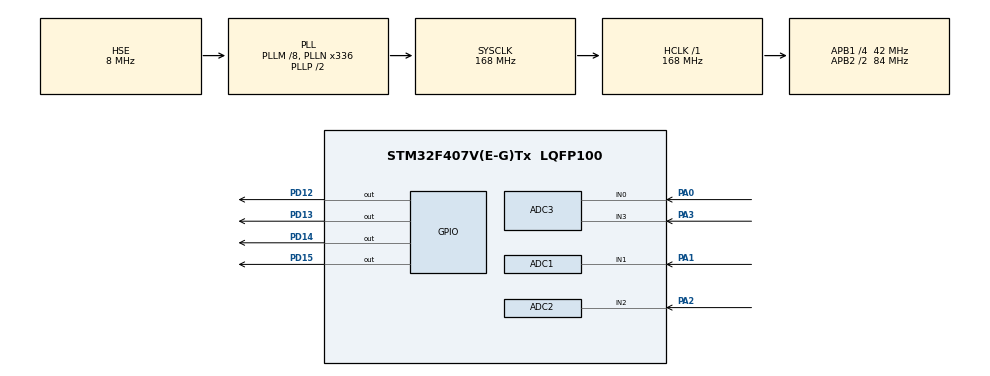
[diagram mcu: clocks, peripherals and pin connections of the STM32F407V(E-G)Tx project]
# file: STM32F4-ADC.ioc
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ADC1.Channel-0\#ChannelRegularConversion=ADC_CHANNEL_1
ADC1.ContinuousConvMode=ENABLE
ADC1.NbrOfConversionFlag=1
ADC1.Rank-0\#ChannelRegularConversion=1
ADC1.SamplingTime-0\#ChannelRegularConversion=ADC_SAMPLETIME_56CYCLES
ADC1.master=1
ADC2.Channel-1\#ChannelRegularConversion=ADC_CHANNEL_2
ADC2.ContinuousConvMode=ENABLE
ADC2.NbrOfConversionFlag=1
ADC2.Rank-1\#ChannelRegularConversion=1
ADC2.SamplingTime-1\#ChannelRegularConversion=ADC_SAMPLETIME_56CYCLES
ADC3.Channel-0\#ChannelRegularConversion=ADC_CHANNEL_3
ADC3.Channel-1\#ChannelRegularConversion=ADC_CHANNEL_0
ADC3.ContinuousConvMode=ENABLE
ADC3.NbrOfConversion=2
ADC3.NbrOfConversionFlag=1
ADC3.Rank-0\#ChannelRegularConversion=1
ADC3.Rank-1\#ChannelRegularConversion=2
ADC3.SamplingTime-0\#ChannelRegularConversion=ADC_SAMPLETIME_56CYCLES
ADC3.SamplingTime-1\#ChannelRegularConversion=ADC_SAMPLETIME_56CYCLES
ADC3.ScanConvMode=ENABLE
Dma.ADC3.0.Direction=DMA_PERIPH_TO_MEMORY
Dma.ADC3.0.FIFOMode=DMA_FIFOMODE_DISABLE
Dma.ADC3.0.Instance=DMA2_Stream0
Dma.ADC3.0.MemDataAlignment=DMA_MDATAALIGN_WORD
Dma.ADC3.0.MemInc=DMA_MINC_ENABLE
Dma.ADC3.0.Mode=DMA_CIRCULAR
Dma.ADC3.0.PeriphDataAlignment=DMA_PDATAALIGN_WORD
Dma.ADC3.0.PeriphInc=DMA_PINC_DISABLE
Dma.ADC3.0.Priority=DMA_PRIORITY_LOW
Dma.Request0=ADC3
Mcu.Family=STM32F4
Mcu.Name=STM32F407V(E-G)Tx
Mcu.Package=LQFP100
NVIC.ADC_IRQn=true\:0\:0\:false\:false\:true\:true\:true\:true
NVIC.DMA2_Stream0_IRQn=true\:0\:0\:false\:false\:true\:false\:true\:true
NVIC.PriorityGroup=NVIC_PRIORITYGROUP_0
PA0-WKUP.Signal=ADCx_IN0
PA1.Signal=ADCx_IN1
PA13.Mode=Serial_Wire
PA13.Signal=SYS_JTMS-SWDIO
PA14.Mode=Serial_Wire
PA14.Signal=SYS_JTCK-SWCLK
PA2.Signal=ADCx_IN2
PA3.Signal=ADCx_IN3
PD12.Signal=GPIO_Output
PD13.Signal=GPIO_Output
PD14.Signal=GPIO_Output
PD15.Signal=GPIO_Output
PH0-OSC_IN.Mode=HSE-External-Oscillator
PH0-OSC_IN.Signal=RCC_OSC_IN
PH1-OSC_OUT.Mode=HSE-External-Oscillator
PH1-OSC_OUT.Signal=RCC_OSC_OUT
ProjectManager.HeapSize=0x200
ProjectManager.StackSize=0x400
ProjectManager.TargetToolchain=STM32CubeIDE
RCC.48MHZClocksFreq_Value=48000000
RCC.AHBFreq_Value=168000000
RCC.APB1CLKDivider=RCC_HCLK_DIV4
RCC.APB1Freq_Value=42000000
RCC.APB1TimFreq_Value=84000000
RCC.APB2CLKDivider=RCC_HCLK_DIV2
RCC.APB2Freq_Value=84000000
RCC.APB2TimFreq_Value=168000000
RCC.CortexFreq_Value=168000000
RCC.HCLKFreq_Value=168000000
RCC.HSE_VALUE=8000000
RCC.HSI_VALUE=16000000
RCC.PLLM=8
RCC.PLLN=336
RCC.PLLQ=7
RCC.PLLSourceVirtual=RCC_PLLSOURCE_HSE
RCC.SYSCLKFreq_VALUE=168000000
RCC.SYSCLKSource=RCC_SYSCLKSOURCE_PLLCLK
RCC.VCOOutputFreq_Value=336000000
SH.ADCx_IN0.0=ADC3_IN0,IN0
SH.ADCx_IN1.0=ADC1_IN1,IN1
SH.ADCx_IN2.0=ADC2_IN2,IN2
SH.ADCx_IN3.0=ADC3_IN3,IN3
board=STM32F407G-DISC1

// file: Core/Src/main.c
/* USER CODE BEGIN Header */
/**
  ******************************************************************************
  * @file           : main.c
  * @brief          : Main program body
  ******************************************************************************
  * @attention
  *
  * Copyright (c) 2024 STMicroelectronics.
  * All rights reserved.
  *
  * This software is licensed under terms that can be found in the LICENSE file
  * in the root directory of this software component.
  * If no LICENSE file comes with this software, it is provided AS-IS.
  *
  ******************************************************************************
  */
/* USER CODE END Header */
#include "main.h"

ADC_HandleTypeDef hadc1;
ADC_HandleTypeDef hadc2;
ADC_HandleTypeDef hadc3;
DMA_HandleTypeDef hdma_adc3;

/* USER CODE BEGIN PV */
uint16_t adcValue= 0 ;
uint16_t adcValueIt= 0 ;
uint32_t adcBuffer[2];
uint32_t adcValueDma1 = 0 ;
uint32_t adcValueDma2 = 0 ;

/* USER CODE END PV */

void SystemClock_Config(void);
static void MX_GPIO_Init(void);
static void MX_DMA_Init(void);
static void MX_ADC1_Init(void);
static void MX_ADC2_Init(void);
static void MX_ADC3_Init(void);

int main(void)
{

  /* MCU Configuration--------------------------------------------------------*/

  /* Reset of all peripherals, Initializes the Flash interface and the Systick. */
  HAL_Init();

  /* Configure the system clock */
  SystemClock_Config();

  /* Initialize all configured peripherals */
  MX_GPIO_Init();
  MX_DMA_Init();
  MX_ADC1_Init();
  MX_ADC2_Init();
  MX_ADC3_Init();
  /* USER CODE BEGIN 2 */

  HAL_ADC_Start_IT(&hadc2);
  HAL_ADC_Start_DMA(&hadc3, adcBuffer, sizeof(adcBuffer));

  /* USER CODE END 2 */

  /* Infinite loop */
  while (1)
  {

    /* USER CODE BEGIN 3 */
	  HAL_ADC_Start(&hadc1);

	  if (HAL_ADC_PollForConversion(&hadc1, 100)== HAL_OK){

		  adcValue  = HAL_ADC_GetValue(&hadc1);

		  	  if(adcValue>2000){

		  		 HAL_GPIO_WritePin(GPIOD, GPIO_PIN_15, GPIO_PIN_SET);
		  	  }else {

		  		HAL_GPIO_WritePin(GPIOD, GPIO_PIN_14, GPIO_PIN_SET);
		  	  }

	}
  }
  /* USER CODE END 3 */
}

void SystemClock_Config(void)
{
  RCC_OscInitTypeDef RCC_OscInitStruct = {0};
  RCC_ClkInitTypeDef RCC_ClkInitStruct = {0};

  /** Configure the main internal regulator output voltage
  */
  __HAL_RCC_PWR_CLK_ENABLE();
  __HAL_PWR_VOLTAGESCALING_CONFIG(PWR_REGULATOR_VOLTAGE_SCALE1);

  /** Initializes the RCC Oscillators according to the specified parameters
  * in the RCC_OscInitTypeDef structure.
  */
  RCC_OscInitStruct.OscillatorType = RCC_OSCILLATORTYPE_HSE;
  RCC_OscInitStruct.HSEState = RCC_HSE_ON;
  RCC_OscInitStruct.PLL.PLLState = RCC_PLL_ON;
  RCC_OscInitStruct.PLL.PLLSource = RCC_PLLSOURCE_HSE;
  RCC_OscInitStruct.PLL.PLLM = 8;
  RCC_OscInitStruct.PLL.PLLN = 336;
  RCC_OscInitStruct.PLL.PLLP = RCC_PLLP_DIV2;
  RCC_OscInitStruct.PLL.PLLQ = 7;
  if (HAL_RCC_OscConfig(&RCC_OscInitStruct) != HAL_OK)
  {
    Error_Handler();
  }

  /** Initializes the CPU, AHB and APB buses clocks
  */
  RCC_ClkInitStruct.ClockType = RCC_CLOCKTYPE_HCLK|RCC_CLOCKTYPE_SYSCLK
                              |RCC_CLOCKTYPE_PCLK1|RCC_CLOCKTYPE_PCLK2;
  RCC_ClkInitStruct.SYSCLKSource = RCC_SYSCLKSOURCE_PLLCLK;
  RCC_ClkInitStruct.AHBCLKDivider = RCC_SYSCLK_DIV1;
  RCC_ClkInitStruct.APB1CLKDivider = RCC_HCLK_DIV4;
  RCC_ClkInitStruct.APB2CLKDivider = RCC_HCLK_DIV2;

  if (HAL_RCC_ClockConfig(&RCC_ClkInitStruct, FLASH_LATENCY_5) != HAL_OK)
  {
    Error_Handler();
  }
}

static void MX_ADC1_Init(void)
{

  ADC_ChannelConfTypeDef sConfig = {0};

  /** Configure the global features of the ADC (Clock, Resolution, Data Alignment and number of conversion)
  */
  hadc1.Instance = ADC1;
  hadc1.Init.ClockPrescaler = ADC_CLOCK_SYNC_PCLK_DIV4;
  hadc1.Init.Resolution = ADC_RESOLUTION_12B;
  hadc1.Init.ScanConvMode = DISABLE;
  hadc1.Init.ContinuousConvMode = ENABLE;
  hadc1.Init.DiscontinuousConvMode = DISABLE;
  hadc1.Init.ExternalTrigConvEdge = ADC_EXTERNALTRIGCONVEDGE_NONE;
  hadc1.Init.ExternalTrigConv = ADC_SOFTWARE_START;
  hadc1.Init.DataAlign = ADC_DATAALIGN_RIGHT;
  hadc1.Init.NbrOfConversion = 1;
  hadc1.Init.DMAContinuousRequests = DISABLE;
  hadc1.Init.EOCSelection = ADC_EOC_SINGLE_CONV;
  if (HAL_ADC_Init(&hadc1) != HAL_OK)
  {
    Error_Handler();
  }

  /** Configure for the selected ADC regular channel its corresponding rank in the sequencer and its sample time.
  */
  sConfig.Channel = ADC_CHANNEL_1;
  sConfig.Rank = 1;
  sConfig.SamplingTime = ADC_SAMPLETIME_56CYCLES;
  if (HAL_ADC_ConfigChannel(&hadc1, &sConfig) != HAL_OK)
  {
    Error_Handler();
  }

}

static void MX_ADC2_Init(void)
{

  ADC_ChannelConfTypeDef sConfig = {0};

  /** Configure the global features of the ADC (Clock, Resolution, Data Alignment and number of conversion)
  */
  hadc2.Instance = ADC2;
  hadc2.Init.ClockPrescaler = ADC_CLOCK_SYNC_PCLK_DIV4;
  hadc2.Init.Resolution = ADC_RESOLUTION_12B;
  hadc2.Init.ScanConvMode = DISABLE;
  hadc2.Init.ContinuousConvMode = ENABLE;
  hadc2.Init.DiscontinuousConvMode = DISABLE;
  hadc2.Init.ExternalTrigConvEdge = ADC_EXTERNALTRIGCONVEDGE_NONE;
  hadc2.Init.ExternalTrigConv = ADC_SOFTWARE_START;
  hadc2.Init.DataAlign = ADC_DATAALIGN_RIGHT;
  hadc2.Init.NbrOfConversion = 1;
  hadc2.Init.DMAContinuousRequests = DISABLE;
  hadc2.Init.EOCSelection = ADC_EOC_SINGLE_CONV;
  if (HAL_ADC_Init(&hadc2) != HAL_OK)
  {
    Error_Handler();
  }

  /** Configure for the selected ADC regular channel its corresponding rank in the sequencer and its sample time.
  */
  sConfig.Channel = ADC_CHANNEL_2;
  sConfig.Rank = 1;
  sConfig.SamplingTime = ADC_SAMPLETIME_56CYCLES;
  if (HAL_ADC_ConfigChannel(&hadc2, &sConfig) != HAL_OK)
  {
    Error_Handler();
  }

}

static void MX_ADC3_Init(void)
{

  ADC_ChannelConfTypeDef sConfig = {0};

  /** Configure the global features of the ADC (Clock, Resolution, Data Alignment and number of conversion)
  */
  hadc3.Instance = ADC3;
  hadc3.Init.ClockPrescaler = ADC_CLOCK_SYNC_PCLK_DIV4;
  hadc3.Init.Resolution = ADC_RESOLUTION_12B;
  hadc3.Init.ScanConvMode = ENABLE;
  hadc3.Init.ContinuousConvMode = ENABLE;
  hadc3.Init.DiscontinuousConvMode = DISABLE;
  hadc3.Init.ExternalTrigConvEdge = ADC_EXTERNALTRIGCONVEDGE_NONE;
  hadc3.Init.ExternalTrigConv = ADC_SOFTWARE_START;
  hadc3.Init.DataAlign = ADC_DATAALIGN_RIGHT;
  hadc3.Init.NbrOfConversion = 2;
  hadc3.Init.DMAContinuousRequests = DISABLE;
  hadc3.Init.EOCSelection = ADC_EOC_SINGLE_CONV;
  if (HAL_ADC_Init(&hadc3) != HAL_OK)
  {
    Error_Handler();
  }

  /** Configure for the selected ADC regular channel its corresponding rank in the sequencer and its sample time.
  */
  sConfig.Channel = ADC_CHANNEL_3;
  sConfig.Rank = 1;
  sConfig.SamplingTime = ADC_SAMPLETIME_56CYCLES;
  if (HAL_ADC_ConfigChannel(&hadc3, &sConfig) != HAL_OK)
  {
    Error_Handler();
  }

  /** Configure for the selected ADC regular channel its corresponding rank in the sequencer and its sample time.
  */
  sConfig.Channel = ADC_CHANNEL_0;
  sConfig.Rank = 2;
  if (HAL_ADC_ConfigChannel(&hadc3, &sConfig) != HAL_OK)
  {
    Error_Handler();
  }

}

static void MX_DMA_Init(void)
{

  /* DMA controller clock enable */
  __HAL_RCC_DMA2_CLK_ENABLE();

  /* DMA interrupt init */
  /* DMA2_Stream0_IRQn interrupt configuration */
  HAL_NVIC_SetPriority(DMA2_Stream0_IRQn, 0, 0);
  HAL_NVIC_EnableIRQ(DMA2_Stream0_IRQn);

}

static void MX_GPIO_Init(void)
{
  GPIO_InitTypeDef GPIO_InitStruct = {0};

  /* GPIO Ports Clock Enable */
  __HAL_RCC_GPIOH_CLK_ENABLE();
  __HAL_RCC_GPIOA_CLK_ENABLE();
  __HAL_RCC_GPIOD_CLK_ENABLE();

  /*Configure GPIO pin Output Level */
  HAL_GPIO_WritePin(GPIOD, GPIO_PIN_12|GPIO_PIN_13|GPIO_PIN_14|GPIO_PIN_15, GPIO_PIN_RESET);

  /*Configure GPIO pins : PD12 PD13 PD14 PD15 */
  GPIO_InitStruct.Pin = GPIO_PIN_12|GPIO_PIN_13|GPIO_PIN_14|GPIO_PIN_15;
  GPIO_InitStruct.Mode = GPIO_MODE_OUTPUT_PP;
  GPIO_InitStruct.Pull = GPIO_NOPULL;
  GPIO_InitStruct.Speed = GPIO_SPEED_FREQ_LOW;
  HAL_GPIO_Init(GPIOD, &GPIO_InitStruct);

}

/* USER CODE BEGIN 4 */
void HAL_ADC_ConvCpltCallback(ADC_HandleTypeDef *hadc)
{
      if(hadc==&hadc2){
    	  adcValueIt = HAL_ADC_GetValue(&hadc2);
    	  if(adcValueIt>=2000){
    		  HAL_GPIO_WritePin(GPIOD, GPIO_PIN_13,GPIO_PIN_SET);

    	  }
      }else if(hadc==&hadc3){

    	  adcValueDma1 = adcBuffer[0];
    	  adcValueDma2 = adcBuffer[1];

    	  if(adcValueDma1!=adcValueDma2){

    		  HAL_GPIO_WritePin(GPIOD, GPIO_PIN_12, GPIO_PIN_SET);

    	  }

      }

}

/* USER CODE END 4 */

void Error_Handler(void)
{
  __disable_irq();
  while (1)
  {
  }
}
